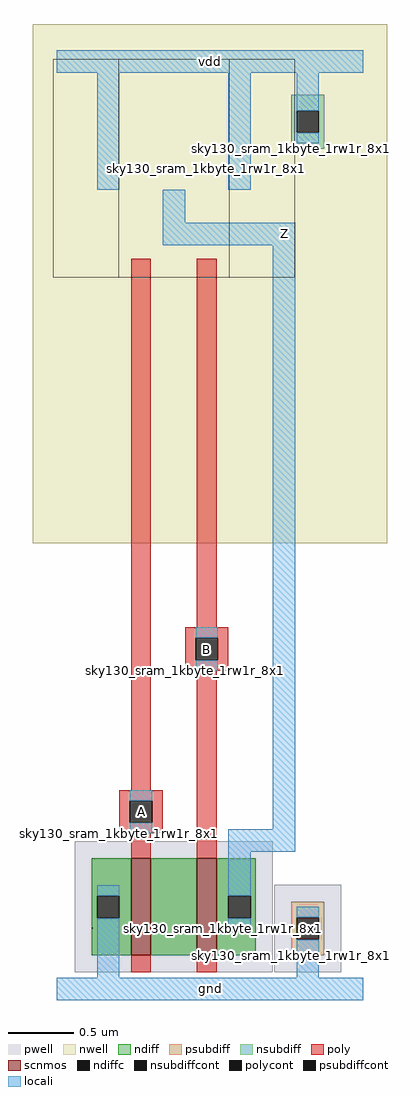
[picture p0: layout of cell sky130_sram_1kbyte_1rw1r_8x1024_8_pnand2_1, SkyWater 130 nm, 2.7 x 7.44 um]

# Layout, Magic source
magic
tech sky130A
magscale 1 2
<< nwell >>
rect -36 679 504 1471
<< pwell >>
rect 332 25 434 159
<< psubdiff >>
rect 358 109 408 133
rect 358 75 366 109
rect 400 75 408 109
rect 358 51 408 75
<< nsubdiff >>
rect 358 1339 408 1363
rect 358 1305 366 1339
rect 400 1305 408 1339
rect 358 1281 408 1305
<< psubdiffcont >>
rect 366 75 400 109
<< nsubdiffcont >>
rect 366 1305 400 1339
<< poly >>
rect 114 303 144 1113
rect 214 551 244 1113
rect 196 535 262 551
rect 196 501 212 535
rect 246 501 262 535
rect 196 485 262 501
rect 96 287 162 303
rect 96 253 112 287
rect 146 253 162 287
rect 96 237 162 253
rect 114 225 144 237
rect 214 225 244 485
<< polycont >>
rect 212 501 246 535
rect 112 253 146 287
<< locali >>
rect 0 1397 468 1431
rect 62 1218 96 1397
rect 262 1218 296 1397
rect 366 1339 400 1397
rect 366 1289 400 1305
rect 162 1168 196 1218
rect 162 1134 364 1168
rect 212 535 246 551
rect 212 485 246 501
rect 112 287 146 303
rect 112 237 146 253
rect 330 243 364 1134
rect 262 209 364 243
rect 262 158 296 209
rect 366 109 400 125
rect 62 17 96 92
rect 366 17 400 75
rect 0 -17 468 17
use sky130_sram_1kbyte_1rw1r_8x1024_8_contact_16  sky130_sram_1kbyte_1rw1r_8x1024_8_contact_16_0
transform 1 0 196 0 1 485
box 0 0 1 1
use sky130_sram_1kbyte_1rw1r_8x1024_8_contact_16  sky130_sram_1kbyte_1rw1r_8x1024_8_contact_16_1
transform 1 0 96 0 1 237
box 0 0 1 1
use sky130_sram_1kbyte_1rw1r_8x1024_8_contact_29  sky130_sram_1kbyte_1rw1r_8x1024_8_contact_29_0
transform 1 0 358 0 1 51
box 0 0 1 1
use sky130_sram_1kbyte_1rw1r_8x1024_8_contact_28  sky130_sram_1kbyte_1rw1r_8x1024_8_contact_28_0
transform 1 0 358 0 1 1281
box 0 0 1 1
use sky130_sram_1kbyte_1rw1r_8x1024_8_nmos_m1_w0_740_sactive_dli  sky130_sram_1kbyte_1rw1r_8x1024_8_nmos_m1_w0_740_sactive_dli_0
transform 1 0 154 0 1 51
box -26 -26 176 174
use sky130_sram_1kbyte_1rw1r_8x1024_8_nmos_m1_w0_740_sli_dactive  sky130_sram_1kbyte_1rw1r_8x1024_8_nmos_m1_w0_740_sli_dactive_0
transform 1 0 54 0 1 51
box -26 -26 176 174
use sky130_sram_1kbyte_1rw1r_8x1024_8_pmos_m1_w1_120_sli_dli  sky130_sram_1kbyte_1rw1r_8x1024_8_pmos_m1_w1_120_sli_dli_0
transform 1 0 154 0 1 1139
box -59 -54 209 278
use sky130_sram_1kbyte_1rw1r_8x1024_8_pmos_m1_w1_120_sli_dli  sky130_sram_1kbyte_1rw1r_8x1024_8_pmos_m1_w1_120_sli_dli_1
transform 1 0 54 0 1 1139
box -59 -54 209 278
<< labels >>
rlabel locali s 347 1151 347 1151 4 Z
port 1 nsew
rlabel locali s 234 0 234 0 4 gnd
port 2 nsew
rlabel locali s 234 1414 234 1414 4 vdd
port 3 nsew
rlabel locali s 129 270 129 270 4 A
port 4 nsew
rlabel locali s 229 518 229 518 4 B
port 5 nsew
<< properties >>
string FIXED_BBOX 0 0 468 1414
string GDS_FILE $PDKPATH/libs.ref/sky130_sram_macros/gds/sky130_sram_1kbyte_1rw1r_8x1024_8.gds
string GDS_END 6047182
string GDS_START 6044258
<< end >>

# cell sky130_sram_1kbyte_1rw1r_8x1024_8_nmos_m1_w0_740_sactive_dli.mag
magic
tech sky130A
magscale 1 2
<< pwell >>
rect -26 -26 176 174
<< scnmos >>
rect 60 0 90 148
<< ndiff >>
rect 0 0 60 148
rect 90 91 150 148
rect 90 57 108 91
rect 142 57 150 91
rect 90 0 150 57
<< ndiffc >>
rect 108 57 142 91
<< poly >>
rect 60 148 90 174
rect 60 -26 90 0
<< locali >>
rect 108 91 142 107
rect 108 41 142 57
use sky130_sram_1kbyte_1rw1r_8x1024_8_contact_11  sky130_sram_1kbyte_1rw1r_8x1024_8_contact_11_0
transform 1 0 100 0 1 41
box 0 0 1 1
<< labels >>
rlabel locali s 125 74 125 74 4 D
port 1 nsew
rlabel poly s 75 74 75 74 4 G
port 2 nsew
rlabel mvpsubdiff s 25 74 25 74 4 S
<< properties >>
string FIXED_BBOX -25 -26 175 174
string GDS_FILE $PDKPATH/libs.ref/sky130_sram_macros/gds/sky130_sram_1kbyte_1rw1r_8x1024_8.gds
string GDS_END 24370
string GDS_START 23648
<< end >>

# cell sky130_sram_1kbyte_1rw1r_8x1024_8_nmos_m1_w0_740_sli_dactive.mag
magic
tech sky130A
magscale 1 2
<< pwell >>
rect -26 -26 176 174
<< scnmos >>
rect 60 0 90 148
<< ndiff >>
rect 0 91 60 148
rect 0 57 8 91
rect 42 57 60 91
rect 0 0 60 57
rect 90 0 150 148
<< ndiffc >>
rect 8 57 42 91
<< poly >>
rect 60 148 90 174
rect 60 -26 90 0
<< locali >>
rect 8 91 42 107
rect 8 41 42 57
use sky130_sram_1kbyte_1rw1r_8x1024_8_contact_11  sky130_sram_1kbyte_1rw1r_8x1024_8_contact_11_0
transform 1 0 0 0 1 41
box 0 0 1 1
<< labels >>
rlabel locali s 25 74 25 74 4 S
port 1 nsew
rlabel poly s 75 74 75 74 4 G
port 2 nsew
rlabel mvpsubdiff s 125 74 125 74 4 D
<< properties >>
string FIXED_BBOX -25 -26 175 174
string GDS_FILE $PDKPATH/libs.ref/sky130_sram_macros/gds/sky130_sram_1kbyte_1rw1r_8x1024_8.gds
string GDS_END 25184
string GDS_START 24462
<< end >>
